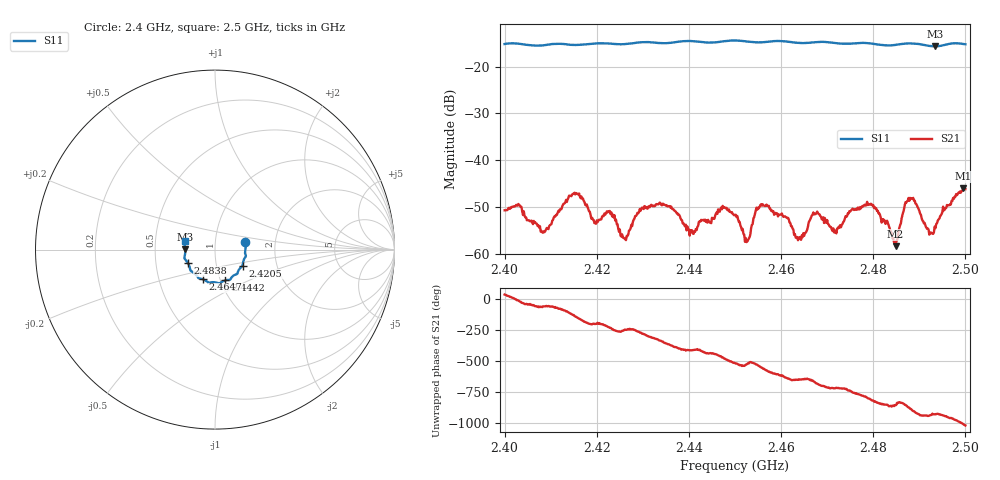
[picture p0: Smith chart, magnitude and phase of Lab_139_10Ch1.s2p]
# Hz S RI R 50
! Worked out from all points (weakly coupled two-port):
!   601 points, 2.4 GHz to 2.5 GHz, reference 50 ohm
!   highest |S21| = -46.07 dB at 2.4995 GHz (marker M1); lowest = -58.4 dB at 2.4848 GHz (marker M2)
!   lowest |S11| = -15.7 dB at 2.4935 GHz (marker M3), VSWR 1.39, Z = 35.9 + j0.112 ohm
!   |S11| at or under -10 dB: start of sweep to end of sweep
!   S12 and S22 are empty: the file has one direction only
!   S11 on the Smith chart (normalised r, x): 2.4 GHz: 1.40, +0.12; 2.4205 GHz: 1.34, -0.24; 2.4442 GHz: 1.06, -0.37; 2.4647 GHz: 0.83, -0.28; 2.4838 GHz: 0.73, -0.11; 2.5 GHz: 0.71, +0.07
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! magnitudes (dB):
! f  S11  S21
! 2.4 GHz  -15.2  -50.8
! 2.4083 GHz  -15.4  -55.5
! 2.4167 GHz  -15.3  -47.8
! 2.4205 GHz  -15.0  -52.7
! 2.4262 GHz  -15.2  -56.9
! 2.4333 GHz  -14.9  -49.5
! 2.4405 GHz  -14.5  -55.2
! 2.4442 GHz  -14.9  -52.8
! 2.45 GHz  -14.4  -51.7
! 2.4527 GHz  -14.6  -57.4
! 2.456 GHz  -14.8  -49.5
! 2.4647 GHz  -15.0  -56.5
! 2.4667 GHz  -14.8  -51.9
! 2.4717 GHz  -14.9  -55.5
! 2.4792 GHz  -15.0  -49.5
! 2.4833 GHz  -15.5  -53.9
! 2.4838 GHz  -15.5  -55.2
! 2.4848 GHz  -15.4  -58.4
! 2.4882 GHz  -15.0  -48.3
! 2.4935 GHz  -15.7  -54.6
! 2.4995 GHz  -15.2  -46.1
! 2.5 GHz  -15.2  -46.2
